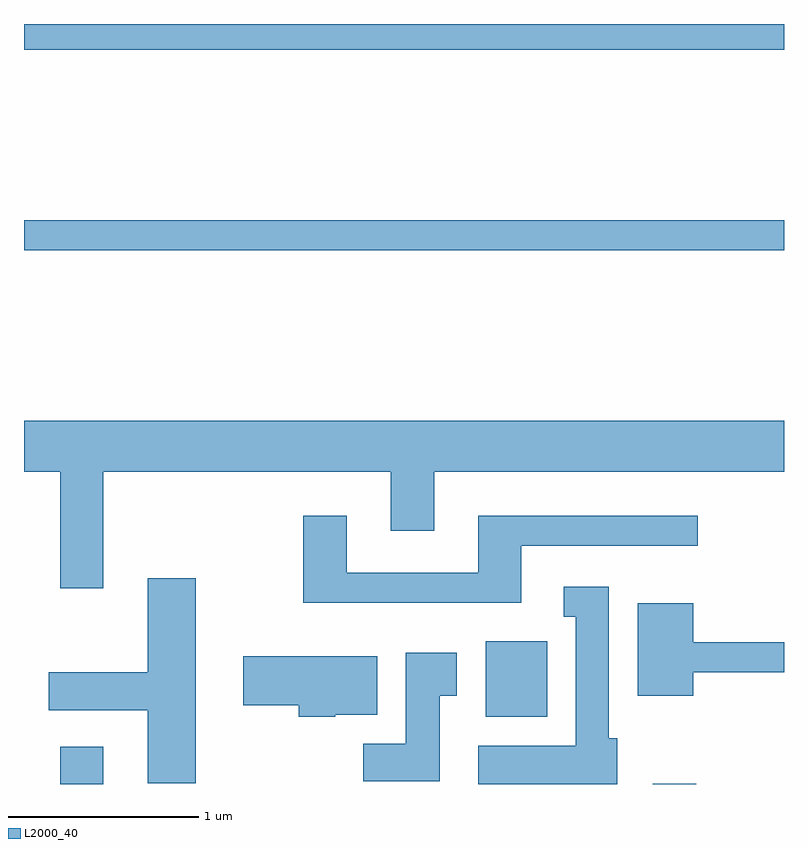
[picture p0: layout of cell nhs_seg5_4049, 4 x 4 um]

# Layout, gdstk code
import gdstk
lib = gdstk.Library(unit=1e-6, precision=1e-09)
def R(c, l, rs):  # rectangles x0, y0, x1, y1
    for r in rs: c.add(gdstk.rectangle(r[:2], r[2:], *l))
def P(c, l, *ps):  # polygons
    for p in ps: c.add(gdstk.Polygon(p, *l))
L2000_40 = (2000, 40)

nhs_seg5_4049 = lib.new_cell('nhs_seg5_4049')
R(nhs_seg5_4049, L2000_40, [(305.801,1424.072,306.029,1424.269), (308.921,1424.072,309.149,1424.074), (308.041,1424.426,308.364,1424.824), (305.611,1426.881,309.611,1427.039), (305.611,1427.936,309.611,1428.072)])
P(nhs_seg5_4049, L2000_40, [(306.029,1425.716),(307.541,1425.716),(307.541,1425.406),(307.769,1425.406),(307.769,1425.716),(309.611,1425.716),(309.611,1425.984),(305.611,1425.984),(305.611,1425.716),(305.801,1425.716),(305.801,1425.101),(306.029,1425.101)],
  [(308.229,1425.326),(309.158,1425.326),(309.158,1425.484),(308.001,1425.484),(308.001,1425.184),(307.309,1425.184),(307.309,1425.484),(307.081,1425.484),(307.081,1425.026),(308.229,1425.026)],
  [(306.514,1425.154),(306.261,1425.154),(306.261,1424.659),(305.741,1424.659),(305.741,1424.461),(306.261,1424.461),(306.261,1424.076),(306.514,1424.076)],
  [(308.734,1424.314),(308.689,1424.314),(308.689,1425.109),(308.453,1425.109),(308.453,1424.951),(308.516,1424.951),(308.516,1424.274),(308.001,1424.274),(308.001,1424.072),(308.734,1424.072)],
  [(309.134,1424.661),(309.611,1424.661),(309.611,1424.819),(309.134,1424.819),(309.134,1425.024),(308.841,1425.024),(308.841,1424.536),(309.134,1424.536)],
  [(307.799,1424.536),(307.889,1424.536),(307.889,1424.764),(307.621,1424.764),(307.621,1424.284),(307.396,1424.284),(307.396,1424.086),(307.799,1424.086)],
  [(307.25,1424.436),(307.469,1424.436),(307.469,1424.744),(306.766,1424.744),(306.766,1424.486),(307.056,1424.486),(307.056,1424.426),(307.25,1424.426)])

lib.write_gds('nhs_seg5_4049.gds')
